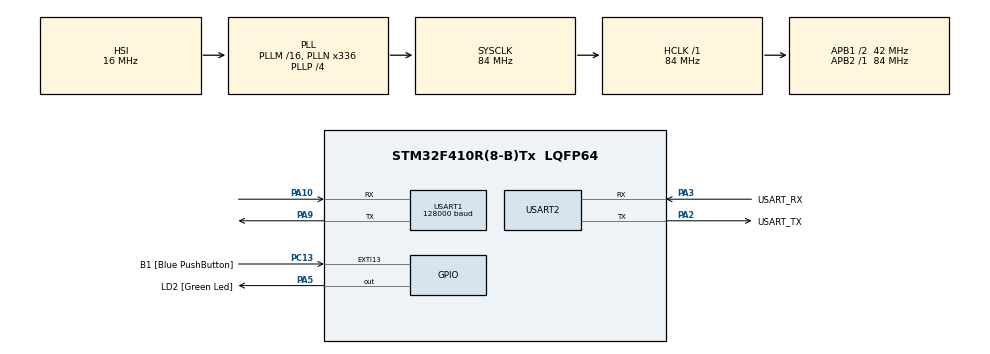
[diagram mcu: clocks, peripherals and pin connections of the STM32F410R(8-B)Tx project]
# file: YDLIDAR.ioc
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Dma.Request0=USART1_RX
Dma.USART1_RX.0.Direction=DMA_PERIPH_TO_MEMORY
Dma.USART1_RX.0.FIFOMode=DMA_FIFOMODE_DISABLE
Dma.USART1_RX.0.Instance=DMA2_Stream2
Dma.USART1_RX.0.MemDataAlignment=DMA_MDATAALIGN_BYTE
Dma.USART1_RX.0.MemInc=DMA_MINC_ENABLE
Dma.USART1_RX.0.Mode=DMA_NORMAL
Dma.USART1_RX.0.PeriphDataAlignment=DMA_PDATAALIGN_BYTE
Dma.USART1_RX.0.PeriphInc=DMA_PINC_DISABLE
Dma.USART1_RX.0.Priority=DMA_PRIORITY_LOW
Mcu.Family=STM32F4
Mcu.Name=STM32F410R(8-B)Tx
Mcu.Package=LQFP64
NVIC.DMA2_Stream2_IRQn=true\:0\:0\:false\:false\:true\:false\:true\:true
NVIC.PriorityGroup=NVIC_PRIORITYGROUP_0
NVIC.USART1_IRQn=true\:0\:0\:false\:false\:true\:true\:true\:true
PA10.Mode=Asynchronous
PA10.Signal=USART1_RX
PA13.GPIO_Label=TMS
PA13.Mode=Serial_Wire
PA13.Signal=SYS_JTMS-SWDIO
PA14.GPIO_Label=TCK
PA14.Mode=Serial_Wire
PA14.Signal=SYS_JTCK-SWCLK
PA2.GPIO_Label=USART_TX
PA2.Mode=Asynchronous
PA2.Signal=USART2_TX
PA3.GPIO_Label=USART_RX
PA3.Mode=Asynchronous
PA3.Signal=USART2_RX
PA5.GPIO_Label=LD2 [Green Led]
PA5.Signal=GPIO_Output
PA9.Mode=Asynchronous
PA9.Signal=USART1_TX
PB3.GPIO_Label=SWO
PB3.Signal=SYS_JTDO-SWO
PC13-ANTI_TAMP.GPIO_Label=B1 [Blue PushButton]
PC13-ANTI_TAMP.GPIO_ModeDefaultEXTI=GPIO_MODE_IT_FALLING
PC13-ANTI_TAMP.Signal=GPXTI13
PC14-OSC32_IN.Mode=LSE-External-Oscillator
PC14-OSC32_IN.Signal=RCC_OSC32_IN
PC15-OSC32_OUT.Mode=LSE-External-Oscillator
PC15-OSC32_OUT.Signal=RCC_OSC32_OUT
PH0\ -\ OSC_IN.Mode=HSE-External-Clock-Source
PH0\ -\ OSC_IN.Signal=RCC_OSC_IN
PH1\ -\ OSC_OUT.Mode=HSE-External-Clock-Source
PH1\ -\ OSC_OUT.Signal=RCC_OSC_OUT
ProjectManager.HeapSize=0x200
ProjectManager.StackSize=0x400
ProjectManager.TargetToolchain=STM32CubeIDE
RCC.48MHZClocksFreq_Value=84000000
RCC.AHBFreq_Value=84000000
RCC.APB1CLKDivider=RCC_HCLK_DIV2
RCC.APB1Freq_Value=42000000
RCC.APB1TimFreq_Value=84000000
RCC.APB2Freq_Value=84000000
RCC.APB2TimFreq_Value=84000000
RCC.CortexFreq_Value=84000000
RCC.FLatency-AdvancedSettings=FLASH_LATENCY_2
RCC.HCLKFreq_Value=84000000
RCC.HSE_VALUE=8000000
RCC.HSI_VALUE=16000000
RCC.PLLN=336
RCC.PLLP=RCC_PLLP_DIV4
RCC.SYSCLKFreq_VALUE=84000000
RCC.SYSCLKSource=RCC_SYSCLKSOURCE_PLLCLK
RCC.VCOOutputFreq_Value=336000000
USART1.BaudRate=128000
USART1.VirtualMode=VM_ASYNC
USART2.VirtualMode=VM_ASYNC
board=NUCLEO-F410RB

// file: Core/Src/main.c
/* USER CODE BEGIN Header */
/**
 ******************************************************************************
 * @file           : main.c
 * @brief          : Main program body
 ******************************************************************************
 * @attention
 *
 * Copyright (c) 2023 STMicroelectronics.
 * All rights reserved.
 *
 * This software is licensed under terms that can be found in the LICENSE file
 * in the root directory of this software component.
 * If no LICENSE file comes with this software, it is provided AS-IS.
 *
 ******************************************************************************
 */
/* USER CODE END Header */
#include "main.h"

/* USER CODE BEGIN Includes */
#include <stdio.h>
#include <string.h>
#include <stdbool.h>
#include "Ydlidar.h"
#include "myuart.h"
/* USER CODE END Includes */

/* USER CODE BEGIN PD */
extern ydlidar_t ydlidar;

/* USER CODE END PD */

UART_HandleTypeDef huart1;
UART_HandleTypeDef huart2;
DMA_HandleTypeDef hdma_usart1_rx;
DMA_HandleTypeDef hdma_usart1_tx;

void SystemClock_Config(void);
static void MX_GPIO_Init(void);
static void MX_DMA_Init(void);
static void MX_USART2_UART_Init(void);
static void MX_USART1_UART_Init(void);

/* USER CODE BEGIN 0 */
bool isScanning = false;

/* USER CODE END 0 */

int main(void)
{

    /* MCU Configuration--------------------------------------------------------*/

    /* Reset of all peripherals, Initializes the Flash interface and the Systick. */
    HAL_Init();

    /* Configure the system clock */
    SystemClock_Config();

    /* Initialize all configured peripherals */
    MX_GPIO_Init();
    MX_DMA_Init();
    MX_USART2_UART_Init();
    MX_USART1_UART_Init();
//    __HAL_DMA_ENABLE_IT(&hdma_usart1_rx, DMA_IT_TC);
//    __HAL_DMA_DISABLE_IT(&hdma_usart1_tx, DMA_IT_TC);

    /* USER CODE BEGIN 2 */
    ydlidar.func.send_command = uartSendCommand;
    ydlidar.func.receive_response = uartReceiveResponse;
    ydlidar.func.receive_data_dma = uartReceiveDataDMA;
    printf(">>>>>>>>>>>>>>>>>>>YDLIDAR X4 Driver<<<<<<<<<<<<<<<<<<<<<\r\n");
    restartScan();
    /* USER CODE END 2 */

    /* Infinite loop */
    while (1)
    {

        /* USER CODE BEGIN 3 */
        dataProcess();
        // led toggle
        HAL_GPIO_TogglePin(LD2_GPIO_Port, LD2_Pin);
        HAL_Delay(1000);
    }
    /* USER CODE END 3 */
}

void SystemClock_Config(void)
{
    RCC_OscInitTypeDef RCC_OscInitStruct = {0};
    RCC_ClkInitTypeDef RCC_ClkInitStruct = {0};

    /** Configure the main internal regulator output voltage
     */
    __HAL_RCC_PWR_CLK_ENABLE();
    __HAL_PWR_VOLTAGESCALING_CONFIG(PWR_REGULATOR_VOLTAGE_SCALE1);

    /** Initializes the RCC Oscillators according to the specified parameters
     * in the RCC_OscInitTypeDef structure.
     */
    RCC_OscInitStruct.OscillatorType = RCC_OSCILLATORTYPE_HSI;
    RCC_OscInitStruct.HSIState = RCC_HSI_ON;
    RCC_OscInitStruct.HSICalibrationValue = RCC_HSICALIBRATION_DEFAULT;
    RCC_OscInitStruct.PLL.PLLState = RCC_PLL_ON;
    RCC_OscInitStruct.PLL.PLLSource = RCC_PLLSOURCE_HSI;
    RCC_OscInitStruct.PLL.PLLM = 16;
    RCC_OscInitStruct.PLL.PLLN = 336;
    RCC_OscInitStruct.PLL.PLLP = RCC_PLLP_DIV4;
    RCC_OscInitStruct.PLL.PLLQ = 4;
    RCC_OscInitStruct.PLL.PLLR = 2;
    if (HAL_RCC_OscConfig(&RCC_OscInitStruct) != HAL_OK)
    {
        Error_Handler();
    }

    /** Initializes the CPU, AHB and APB buses clocks
     */
    RCC_ClkInitStruct.ClockType = RCC_CLOCKTYPE_HCLK | RCC_CLOCKTYPE_SYSCLK | RCC_CLOCKTYPE_PCLK1 | RCC_CLOCKTYPE_PCLK2;
    RCC_ClkInitStruct.SYSCLKSource = RCC_SYSCLKSOURCE_PLLCLK;
    RCC_ClkInitStruct.AHBCLKDivider = RCC_SYSCLK_DIV1;
    RCC_ClkInitStruct.APB1CLKDivider = RCC_HCLK_DIV2;
    RCC_ClkInitStruct.APB2CLKDivider = RCC_HCLK_DIV1;

    if (HAL_RCC_ClockConfig(&RCC_ClkInitStruct, FLASH_LATENCY_2) != HAL_OK)
    {
        Error_Handler();
    }
}

static void MX_USART1_UART_Init(void)
{

    huart1.Instance = USART1;
    huart1.Init.BaudRate = 128000;
    huart1.Init.WordLength = UART_WORDLENGTH_8B;
    huart1.Init.StopBits = UART_STOPBITS_1;
    huart1.Init.Parity = UART_PARITY_NONE;
    huart1.Init.Mode = UART_MODE_TX_RX;
    huart1.Init.HwFlowCtl = UART_HWCONTROL_NONE;
    huart1.Init.OverSampling = UART_OVERSAMPLING_16;
    if (HAL_UART_Init(&huart1) != HAL_OK)
    {
        Error_Handler();
    }
}

static void MX_USART2_UART_Init(void)
{

    huart2.Instance = USART2;
    huart2.Init.BaudRate = 115200;
    huart2.Init.WordLength = UART_WORDLENGTH_8B;
    huart2.Init.StopBits = UART_STOPBITS_1;
    huart2.Init.Parity = UART_PARITY_NONE;
    huart2.Init.Mode = UART_MODE_TX_RX;
    huart2.Init.HwFlowCtl = UART_HWCONTROL_NONE;
    huart2.Init.OverSampling = UART_OVERSAMPLING_16;
    if (HAL_UART_Init(&huart2) != HAL_OK)
    {
        Error_Handler();
    }
}

static void MX_DMA_Init(void)
{

    /* DMA controller clock enable */
    __HAL_RCC_DMA2_CLK_ENABLE();

    /* DMA interrupt init */
    /* DMA2_Stream2_IRQn interrupt configuration */
    HAL_NVIC_SetPriority(DMA2_Stream2_IRQn, 0, 0);
    HAL_NVIC_EnableIRQ(DMA2_Stream2_IRQn);
}

static void MX_GPIO_Init(void)
{
    GPIO_InitTypeDef GPIO_InitStruct = {0};

    /* GPIO Ports Clock Enable */
    __HAL_RCC_GPIOC_CLK_ENABLE();
    __HAL_RCC_GPIOH_CLK_ENABLE();
    __HAL_RCC_GPIOA_CLK_ENABLE();
    __HAL_RCC_GPIOB_CLK_ENABLE();

    /*Configure GPIO pin Output Level */
    HAL_GPIO_WritePin(LD2_GPIO_Port, LD2_Pin, GPIO_PIN_RESET);

    /*Configure GPIO pin : B1_Pin */
    GPIO_InitStruct.Pin = B1_Pin;
    GPIO_InitStruct.Mode = GPIO_MODE_IT_FALLING;
    GPIO_InitStruct.Pull = GPIO_NOPULL;
    HAL_GPIO_Init(B1_GPIO_Port, &GPIO_InitStruct);

    /*Configure GPIO pin : LD2_Pin */
    GPIO_InitStruct.Pin = LD2_Pin;
    GPIO_InitStruct.Mode = GPIO_MODE_OUTPUT_PP;
    GPIO_InitStruct.Pull = GPIO_NOPULL;
    GPIO_InitStruct.Speed = GPIO_SPEED_FREQ_LOW;
    HAL_GPIO_Init(LD2_GPIO_Port, &GPIO_InitStruct);

}

void Error_Handler(void)
{
    __disable_irq();
    while (1)
    {
    }
}
